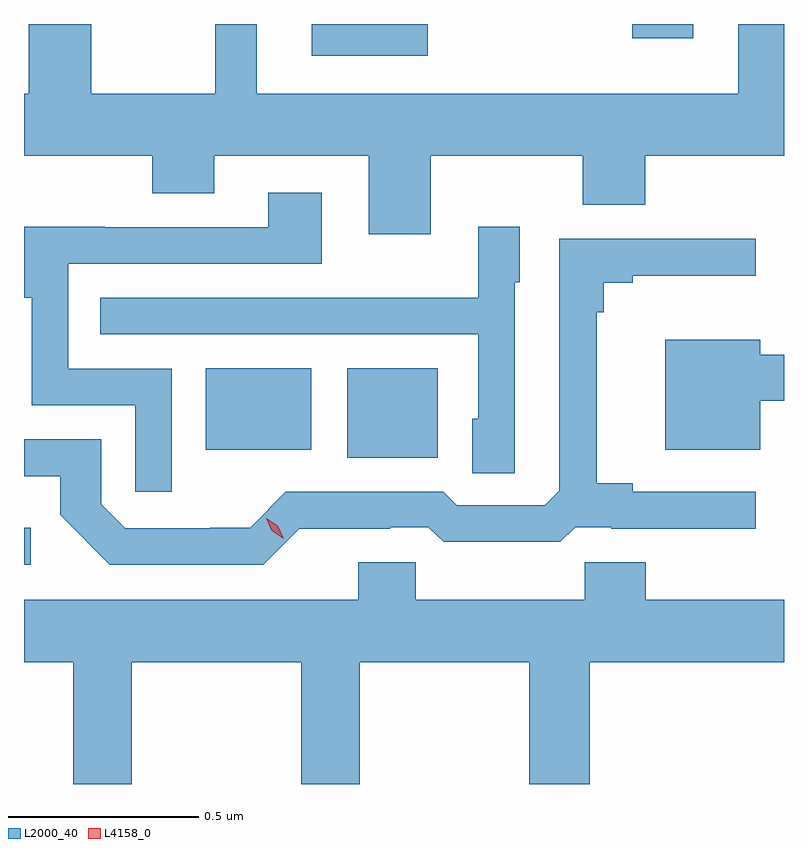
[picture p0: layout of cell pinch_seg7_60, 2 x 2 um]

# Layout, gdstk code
import gdstk
lib = gdstk.Library(unit=1e-6, precision=1e-09)
def R(c, l, rs):  # rectangles x0, y0, x1, y1
    for r in rs: c.add(gdstk.rectangle(r[:2], r[2:], *l))
def P(c, l, *ps):  # polygons
    for p in ps: c.add(gdstk.Polygon(p, *l))
L2000_40 = (2000, 40)
L4158_0 = (4158, 0)

pinch_seg7_60 = lib.new_cell('pinch_seg7_60')
R(pinch_seg7_60, L2000_40, [(891.934,1079.46,891.952,1079.557), (892.784,1079.741,893.023,1079.977), (892.412,1079.762,892.69,1079.977), (892.691,1080.8,892.996,1080.883), (893.534,1080.846,893.695,1080.883)])
P(pinch_seg7_60, L2000_40, [(893.005,1080.536),(893.405,1080.536),(893.405,1080.408),(893.569,1080.408),(893.569,1080.536),(893.934,1080.536),(893.934,1080.883),(893.813,1080.883),(893.813,1080.7),(892.546,1080.7),(892.546,1080.883),(892.437,1080.883),(892.437,1080.7),(892.111,1080.7),(892.111,1080.883),(891.947,1080.883),(891.947,1080.7),(891.934,1080.7),(891.934,1080.536),(892.271,1080.536),(892.271,1080.437),(892.435,1080.437),(892.435,1080.536),(892.841,1080.536),(892.841,1080.33),(893.005,1080.33)],
  [(892.323,1079.976),(892.05,1079.976),(892.05,1080.252),(892.717,1080.252),(892.717,1080.439),(892.577,1080.439),(892.577,1080.348),(892.147,1080.348),(892.147,1080.35),(891.934,1080.35),(891.934,1080.162),(891.954,1080.162),(891.954,1079.88),(892.227,1079.88),(892.227,1079.652),(892.323,1079.652)],
  [(893.226,1080.204),(893.239,1080.204),(893.239,1080.349),(893.13,1080.349),(893.13,1080.163),(892.813,1080.163),(892.813,1080.162),(892.135,1080.162),(892.135,1080.066),(893.13,1080.066),(893.13,1079.844),(893.114,1079.844),(893.114,1079.701),(893.226,1079.701)],
  [(892.658,1079.555),(892.898,1079.555),(892.898,1079.559),(892.998,1079.559),(893.038,1079.52),(893.345,1079.52),(893.385,1079.559),(893.479,1079.559),(893.479,1079.555),(893.86,1079.555),(893.86,1079.652),(893.536,1079.652),(893.536,1079.675),(893.441,1079.675),(893.441,1080.125),(893.459,1080.125),(893.459,1080.202),(893.536,1080.202),(893.536,1080.221),(893.86,1080.221),(893.86,1080.318),(893.343,1080.318),(893.343,1079.655),(893.304,1079.616),(893.073,1079.616),(893.037,1079.652),(892.623,1079.652),(892.529,1079.558),(892.424,1079.558),(892.424,1079.556),(892.2,1079.556),(892.137,1079.619),(892.137,1079.79),(891.934,1079.79),(891.934,1079.693),(892.03,1079.693),(892.03,1079.591),(892.16,1079.46),(892.563,1079.46)],
  [(893.872,1079.891),(893.934,1079.891),(893.934,1080.013),(893.872,1080.013),(893.872,1080.052),(893.621,1080.052),(893.621,1079.762),(893.872,1079.762)],
  [(892.218,1079.204),(892.663,1079.204),(892.663,1078.883),(892.818,1078.883),(892.818,1079.204),(893.263,1079.204),(893.263,1078.883),(893.423,1078.883),(893.423,1079.204),(893.934,1079.204),(893.934,1079.368),(893.57,1079.368),(893.57,1079.466),(893.41,1079.466),(893.41,1079.368),(892.965,1079.368),(892.965,1079.466),(892.814,1079.466),(892.814,1079.368),(891.934,1079.368),(891.934,1079.204),(892.063,1079.204),(892.063,1078.883),(892.218,1078.883)])
P(pinch_seg7_60, L4158_0, [(892.617,1079.528),(892.586,1079.549),(892.571,1079.583),(892.571,1079.583),(892.571,1079.583),(892.602,1079.562),(892.618,1079.528),(892.618,1079.528)])

lib.write_gds('pinch_seg7_60.gds')
